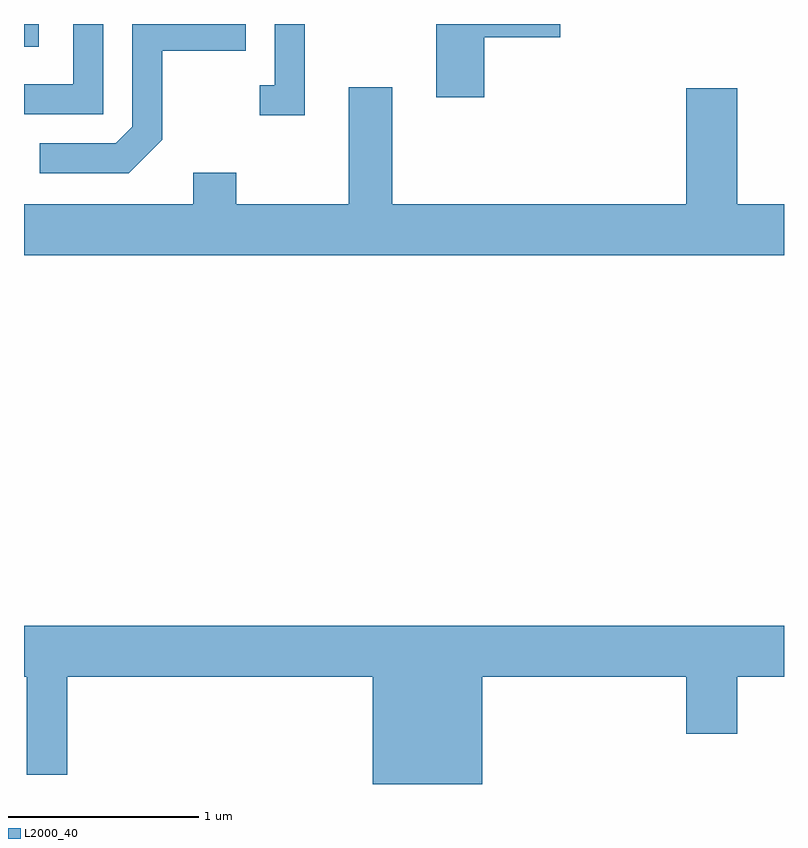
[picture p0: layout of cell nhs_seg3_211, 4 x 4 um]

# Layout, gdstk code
import gdstk
lib = gdstk.Library(unit=1e-6, precision=1e-09)
def R(c, l, rs):  # rectangles x0, y0, x1, y1
    for r in rs: c.add(gdstk.rectangle(r[:2], r[2:], *l))
def P(c, l, *ps):  # polygons
    for p in ps: c.add(gdstk.Polygon(p, *l))
L2000_40 = (2000, 40)

nhs_seg3_211 = lib.new_cell('nhs_seg3_211')
R(nhs_seg3_211, L2000_40, [(191.611,1133.771,191.689,1133.892)])
P(nhs_seg3_211, L2000_40, [(192.339,1133.284),(192.339,1133.751),(192.779,1133.751),(192.779,1133.892),(192.181,1133.892),(192.181,1133.352),(192.094,1133.264),(191.693,1133.264),(191.693,1133.106),(192.162,1133.106)],
  [(194.034,1133.821),(194.434,1133.821),(194.434,1133.892),(193.781,1133.892),(193.781,1133.506),(194.034,1133.506)],
  [(192.029,1133.892),(191.871,1133.892),(191.871,1133.574),(191.611,1133.574),(191.611,1133.416),(192.029,1133.416)],
  [(193.089,1133.892),(192.931,1133.892),(192.931,1133.569),(192.853,1133.569),(192.853,1133.411),(193.089,1133.411)],
  [(195.611,1132.944),(195.364,1132.944),(195.364,1133.554),(195.096,1133.554),(195.096,1132.944),(193.549,1132.944),(193.549,1133.559),(193.321,1133.559),(193.321,1132.944),(192.729,1132.944),(192.729,1133.109),(192.501,1133.109),(192.501,1132.944),(191.611,1132.944),(191.611,1132.676),(195.611,1132.676)],
  [(194.024,1130.456),(195.096,1130.456),(195.096,1130.156),(195.364,1130.156),(195.364,1130.456),(195.611,1130.456),(195.611,1130.724),(191.611,1130.724),(191.611,1130.456),(191.626,1130.456),(191.626,1129.941),(191.839,1129.941),(191.839,1130.456),(193.446,1130.456),(193.446,1129.892),(194.024,1129.892)])

lib.write_gds('nhs_seg3_211.gds')
